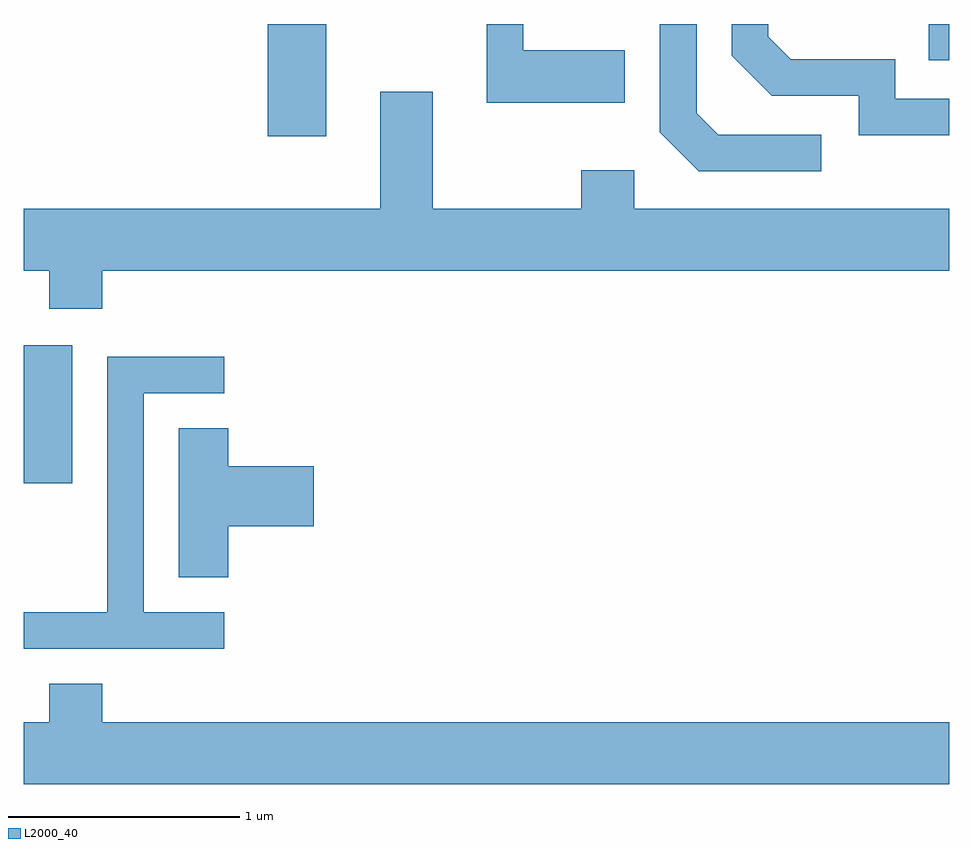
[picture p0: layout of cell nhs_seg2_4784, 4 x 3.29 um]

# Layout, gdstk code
import gdstk
lib = gdstk.Library(unit=1e-6, precision=1e-09)
def R(c, l, rs):  # rectangles x0, y0, x1, y1
    for r in rs: c.add(gdstk.rectangle(r[:2], r[2:], *l))
def P(c, l, *ps):  # polygons
    for p in ps: c.add(gdstk.Polygon(p, *l))
L2000_40 = (2000, 40)

nhs_seg2_4784 = lib.new_cell('nhs_seg2_4784')
R(nhs_seg2_4784, L2000_40, [(325.611,1071.816,325.819,1072.414), (326.666,1073.316,326.919,1073.802), (329.523,1073.646,329.611,1073.802)])
P(nhs_seg2_4784, L2000_40, [(329.611,1073.479),(329.379,1073.479),(329.379,1073.649),(328.927,1073.649),(328.829,1073.747),(328.829,1073.802),(328.671,1073.802),(328.671,1073.664),(328.844,1073.491),(329.221,1073.491),(329.221,1073.321),(329.611,1073.321)],
  [(328.209,1073.689),(327.769,1073.689),(327.769,1073.802),(327.611,1073.802),(327.611,1073.461),(328.209,1073.461)],
  [(329.058,1073.324),(328.612,1073.324),(328.519,1073.417),(328.519,1073.802),(328.361,1073.802),(328.361,1073.334),(328.529,1073.166),(329.058,1073.166)],
  [(325.949,1072.736),(329.611,1072.736),(329.611,1073.004),(328.249,1073.004),(328.249,1073.169),(328.021,1073.169),(328.021,1073.004),(327.379,1073.004),(327.379,1073.509),(327.151,1073.509),(327.151,1073.004),(325.611,1073.004),(325.611,1072.736),(325.721,1072.736),(325.721,1072.571),(325.949,1072.571)],
  [(326.478,1071.259),(326.129,1071.259),(326.129,1072.206),(326.478,1072.206),(326.478,1072.364),(325.971,1072.364),(325.971,1071.259),(325.611,1071.259),(325.611,1071.101),(326.478,1071.101)],
  [(326.494,1071.631),(326.864,1071.631),(326.864,1071.889),(326.494,1071.889),(326.494,1072.054),(326.281,1072.054),(326.281,1071.411),(326.494,1071.411)],
  [(329.611,1070.784),(325.949,1070.784),(325.949,1070.949),(325.721,1070.949),(325.721,1070.784),(325.611,1070.784),(325.611,1070.516),(329.611,1070.516)])

lib.write_gds('nhs_seg2_4784.gds')
